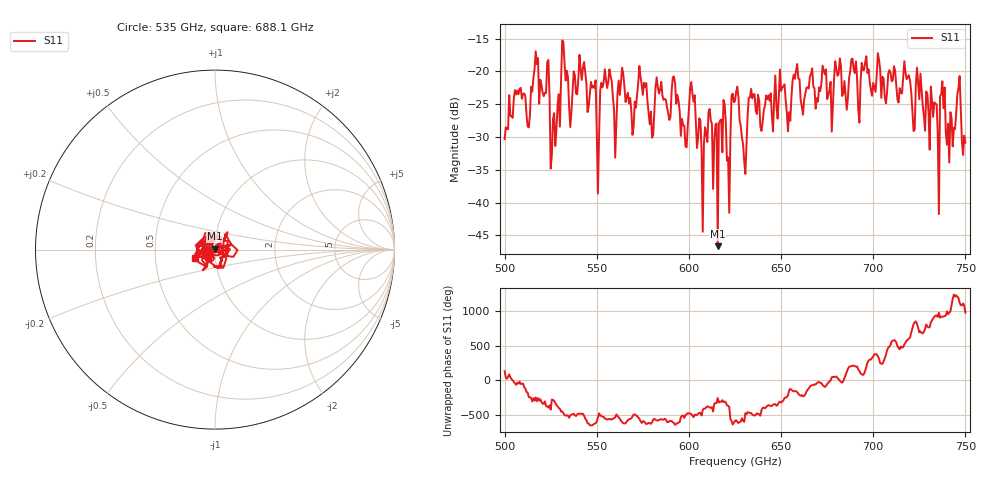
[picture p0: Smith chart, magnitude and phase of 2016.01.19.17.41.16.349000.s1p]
!Created with skrf (http://scikit-rf.org).
# GHz S RI R 50.0
!freq ReS11 ImS11
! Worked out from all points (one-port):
!   401 points, 500 GHz to 750 GHz, reference 50 ohm
!   lowest |S11| = -46.7 dB at 615.6 GHz (marker M1), VSWR 1.01, Z = 49.9 + j0.442 ohm
!   |S11| at or under -10 dB: start of sweep to end of sweep
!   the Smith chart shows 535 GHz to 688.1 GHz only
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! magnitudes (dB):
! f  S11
! 500 GHz  -30.3
! 506.9 GHz  -22.9
! 513.1 GHz  -28.5
! 516.9 GHz  -16.9
! 523.1 GHz  -18.6
! 526.2 GHz  -27.3
! 531.2 GHz  -15.3
! 535.6 GHz  -28.5
! 541.9 GHz  -21.3
! 551.2 GHz  -29.8
! 553.1 GHz  -22.4
! 560 GHz  -33.2
! 562.5 GHz  -23.6
! 574.4 GHz  -22.0
! 579.4 GHz  -26.1
! 593.8 GHz  -23.6
! 615.6 GHz  -46.7
! 618.8 GHz  -24.3
! 621.2 GHz  -33.1
! 625 GHz  -24.5
! 630 GHz  -33.7
! 633.8 GHz  -22.7
! 656.2 GHz  -21.3
! 687.5 GHz  -20.0
! 718.8 GHz  -20.8
! 734.4 GHz  -25.0
! 746.2 GHz  -22.5
! 750 GHz  -30.9
